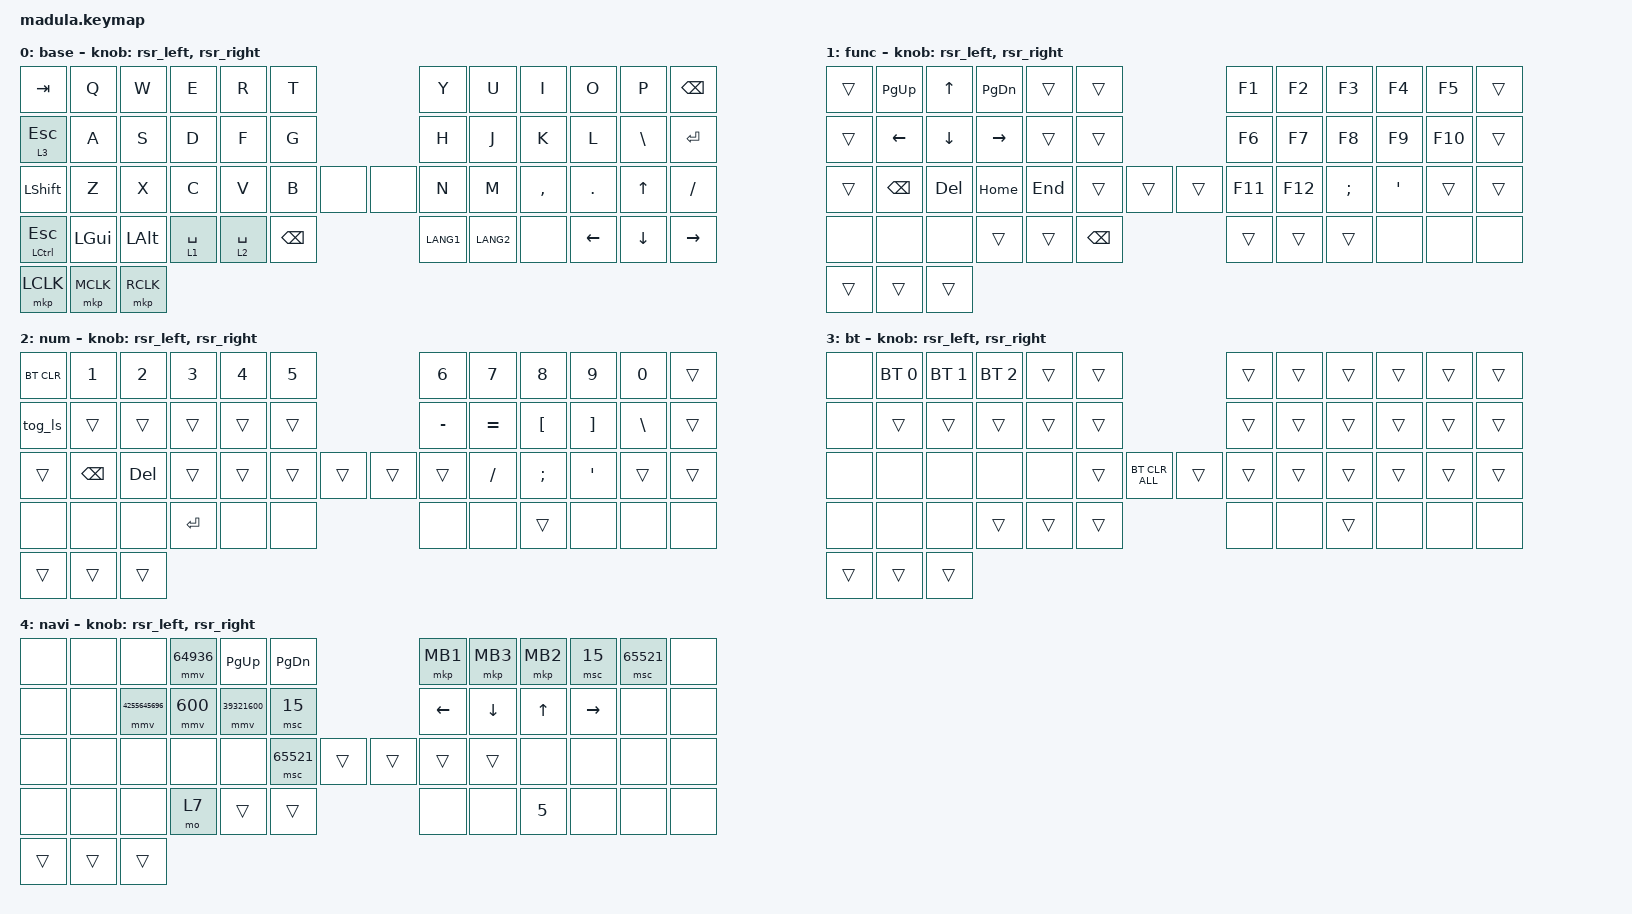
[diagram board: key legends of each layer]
/*
 * Copyright (c) 2020 The ZMK Contributors
 *
 * SPDX-License-Identifier: MIT
 *
 * Keep this file as a complete devicetree document. Keymap Editor parses the
 * selected keymap directly and cannot discover a root node through a whole-file
 * #include of cornix.keymap.
 */

#include "zmk-helpers/helper.h"
#include "includes/cornix54.h"
#include <behaviors/runtime_macro.dtsi>
#include <behaviors/runtime-sensor-rotate.dtsi>

#define BASE 0
#define FUNC 1
#define NUM 2
#define ADJUST 3
#define NAVI 4
#define ZMK_POINTING_DEFAULT_SCRL_VAL 100

#include <layout_shift_kp_override.dtsi>
#include <behaviors.dtsi>
#include <dt-bindings/zmk/bt.h>
#include <dt-bindings/zmk/keys.h>
#include <dt-bindings/zmk/pointing.h>

&tog_ls { layout-maps = <&layout_shift_map_us_to_jis>; };

/* Keymap Editor may reorder includes. Restore the override after all includes. */
&kp {
    compatible = "zmk,behavior-layout-shift-key-press";
};

/* The module instantiates one layout-shift key press device. Use kp everywhere. */
&kpls { status = "disabled"; };
&mtls { bindings = <&kp>, <&kp>; };

/ {
    behaviors {
        rsr_left: rsr_left {
            compatible = "zmk,behavior-runtime-sensor-rotate";
            #sensor-binding-cells = <0>;
            tap-ms = <5>;
            cw-binding = <&msc SCRL_DOWN>;
            ccw-binding = <&msc SCRL_UP>;
        };

        rsr_right: rsr_right {
            compatible = "zmk,behavior-runtime-sensor-rotate";
            #sensor-binding-cells = <0>;
            tap-ms = <5>;
            cw-binding = <&msc SCRL_UP>;
            ccw-binding = <&msc SCRL_DOWN>;
        };
    };

    keymap {
        compatible = "zmk,keymap";

        base {
            bindings = <
&kp TAB                  &kp Q         &kp W         &kp E        &kp R        &kp T                        &kp Y      &kp U      &kp I      &kp O       &kp P          &kp BACKSPACE
&lt 3 ESCAPE             &kp A         &kp S         &kp D        &kp F        &kp G                        &kp H      &kp J      &kp K      &kp L       &kp BACKSLASH  &kp RETURN
&kp LEFT_SHIFT           &kp Z         &kp X         &kp C        &kp V        &kp B          &none  &none  &kp N      &kp M      &kp COMMA  &kp PERIOD  &kp UP         &kp SLASH
&mt LEFT_CONTROL ESCAPE  &kp LEFT_GUI  &kp LEFT_ALT  &lt 1 SPACE  &lt 2 SPACE  &kp BACKSPACE                &kp LANG1  &kp LANG2  &none      &kp LEFT    &kp DOWN       &kp RIGHT
&mkp LCLK                &mkp MCLK     &mkp RCLK
            >;

            sensor-bindings = <&rsr_left>, <&rsr_right>;
        };

        func {
            bindings = <
&trans  &kp PAGE_UP    &kp UP      &kp PAGE_DOWN  &trans   &trans                         &kp F1   &kp F2   &kp F3         &kp F4   &kp F5   &trans
&trans  &kp LEFT       &kp DOWN    &kp RIGHT      &trans   &trans                         &kp F6   &kp F7   &kp F8         &kp F9   &kp F10  &trans
&trans  &kp BACKSPACE  &kp DELETE  &kp HOME       &kp END  &trans         &trans  &trans  &kp F11  &kp F12  &kp SEMICOLON  &kp SQT  &trans   &trans
&none   &none          &none       &trans         &trans   &kp BACKSPACE                  &trans   &trans   &trans         &none    &none    &none
&trans  &trans         &trans
            >;

            sensor-bindings = <&rsr_left>, <&rsr_right>;
        };

        num {
            bindings = <
&bt BT_CLR  &kp N1         &kp N2      &kp N3      &kp N4  &kp N5                  &kp N6     &kp N7     &kp N8            &kp N9             &kp N0         &trans
&tog_ls     &trans         &trans      &trans      &trans  &trans                  &kp MINUS  &kp EQUAL  &kp LEFT_BRACKET  &kp RIGHT_BRACKET  &kp BACKSLASH  &trans
&trans      &kp BACKSPACE  &kp DELETE  &trans      &trans  &trans  &trans  &trans  &trans     &kp SLASH  &kp SEMICOLON     &kp SQT            &trans         &trans
&none       &none          &none       &kp RETURN  &none   &none                   &none      &none      &trans            &none              &none          &none
&trans      &trans         &trans
            >;

            sensor-bindings = <&rsr_left>, <&rsr_right>;
        };

        bt {
            bindings = <
&none   &bt BT_SEL 0  &bt BT_SEL 1  &bt BT_SEL 2  &trans  &trans                          &trans  &trans  &trans  &trans  &trans  &trans
&none   &trans        &trans        &trans        &trans  &trans                          &trans  &trans  &trans  &trans  &trans  &trans
&none   &none         &none         &none         &none   &trans  &bt BT_CLR_ALL  &trans  &trans  &trans  &trans  &trans  &trans  &trans
&none   &none         &none         &trans        &trans  &trans                          &none   &none   &trans  &none   &none   &none
&trans  &trans        &trans
            >;

            sensor-bindings = <&rsr_left>, <&rsr_right>;
        };

        navi {
            bindings = <
&none   &none   &none            &mmv 64936  &kp PAGE_UP    &kp PAGE_DOWN                  &mkp MB1  &mkp MB3  &mkp MB2  &msc 15    &msc 65521  &none
&none   &none   &mmv 4255645696  &mmv 600    &mmv 39321600  &msc 15                        &kp LEFT  &kp DOWN  &kp UP    &kp RIGHT  &none       &none
&none   &none   &none            &none       &none          &msc 65521     &trans  &trans  &trans    &trans    &none     &none      &none       &none
&none   &none   &none            &mo 7       &trans         &trans                         &none     &none     &kp N5    &none      &none       &none
&trans  &trans  &trans
            >;

            sensor-bindings = <&rsr_left>, <&rsr_right>;
        };
    };
};
